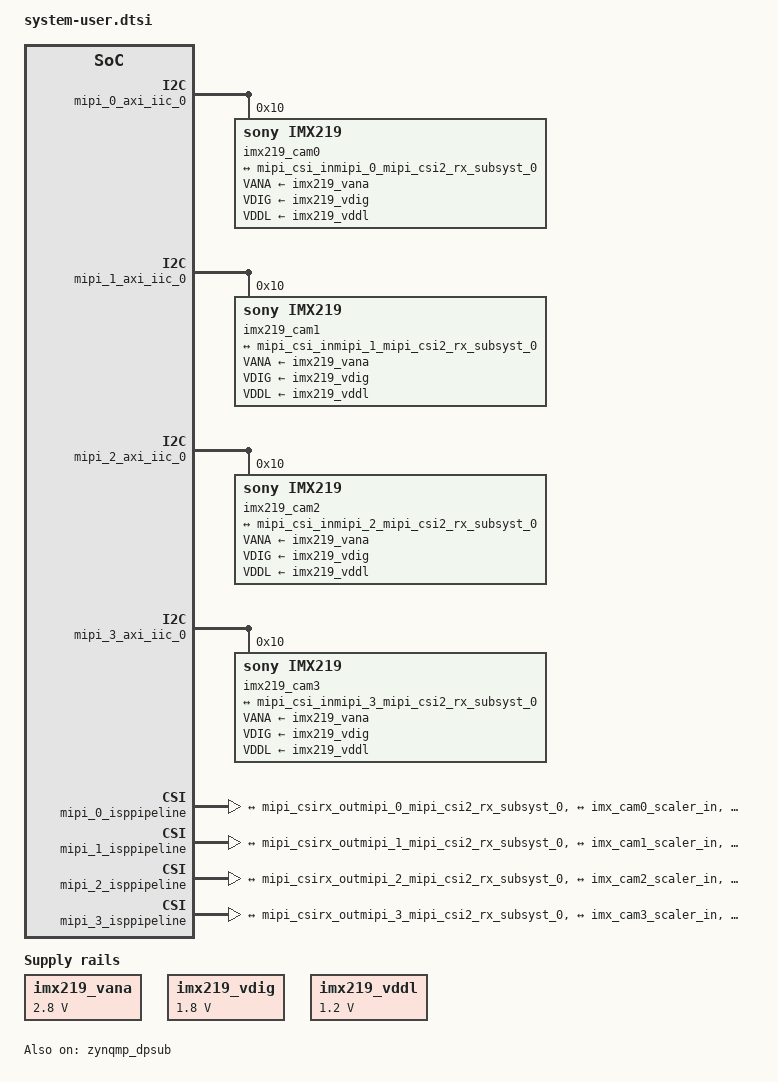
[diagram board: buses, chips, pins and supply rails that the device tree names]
/include/ "system-conf.dtsi"
/ {
};

&zynqmp_dpsub {
    status = "okay";
    clocks = <&dp_aclk>, <&zynqmp_clk 17>, <&zynqmp_clk 16>, <&display_pipeline_clk_wiz_0 0>;
    clock-names = "dp_apb_clk", "dp_aud_clk",
                    "dp_vtc_pixel_clk_in",
                    "dp_live_video_in_clk";
    xlnx,bridge = <&display_pipeline_v_tc_0>;

    dp_port: port@0 {
        reg = <0>;
        dp_encoder: endpoint {
            remote-endpoint = <&mixer_crtc>;
        };
    };
};

&amba_pl {
	imx219_clk: imx219_clk {
		#clock-cells = <0x0>;
		clock-frequency = <24000000>;
		compatible = "fixed-clock";
	};


	imx219_vana: fixedregulator@3 {
		compatible = "regulator-fixed";
		regulator-name = "imx219_vana";
		regulator-min-microvolt = <2800000>;
		regulator-max-microvolt = <2800000>;
		enable-active-high;
	};

	imx219_vdig: fixedregulator@4 {
		compatible = "regulator-fixed";
		regulator-name = "imx219_vdig";
		regulator-min-microvolt = <1800000>;
		regulator-max-microvolt = <1800000>;
	};

	imx219_vddl: fixedregulator@5 {
		compatible = "regulator-fixed";
		regulator-name = "imx219_vddl";
		regulator-min-microvolt = <1200000>;
		regulator-max-microvolt = <1200000>;
	};
	
	/* zocl */
	zyxclmm_drm {
		compatible = "xlnx,zocl";
		status = "okay";
		interrupt-parent = <&gic>;
		interrupts = <0 110  4>, <0 111  4>;
	};
};

&mipi_0_axi_iic_0 {
	imx219_cam0: sensor@10 {
		compatible = "sony,imx219";
		reg = <0x10>;
		clocks = <&imx219_clk>;
		VANA-supply = <&imx219_vana>;   /* 2.8v */
		VDIG-supply = <&imx219_vdig>;   /* 1.8v */
		VDDL-supply = <&imx219_vddl>;   /* 1.2v */

		port {
		     imx219_cam0_0: endpoint {
			remote-endpoint = <&mipi_csi_inmipi_0_mipi_csi2_rx_subsyst_0>;
			data-lanes = <1 2>;
			link-frequencies = /bits/ 64 <456000000>;
			};
		};
	};
};

&mipi_1_axi_iic_0 {
	imx219_cam1: sensor@10 {
		compatible = "sony,imx219";
		reg = <0x10>;
		clocks = <&imx219_clk>;
		VANA-supply = <&imx219_vana>;   /* 2.8v */
		VDIG-supply = <&imx219_vdig>;   /* 1.8v */
		VDDL-supply = <&imx219_vddl>;   /* 1.2v */

		port {
		     imx219_cam1_0: endpoint {
			remote-endpoint = <&mipi_csi_inmipi_1_mipi_csi2_rx_subsyst_0>;
			data-lanes = <1 2>;
			link-frequencies = /bits/ 64 <456000000>;
			};
		};
	};
};

&mipi_2_axi_iic_0 {
	imx219_cam2: sensor@10 {
		compatible = "sony,imx219";
		reg = <0x10>;
		clocks = <&imx219_clk>;
		VANA-supply = <&imx219_vana>;   /* 2.8v */
		VDIG-supply = <&imx219_vdig>;   /* 1.8v */
		VDDL-supply = <&imx219_vddl>;   /* 1.2v */

		port {
		     imx219_cam2_0: endpoint {
			remote-endpoint = <&mipi_csi_inmipi_2_mipi_csi2_rx_subsyst_0>;
			data-lanes = <1 2>;
			link-frequencies = /bits/ 64 <456000000>;
			};
		};
	};
};

&mipi_3_axi_iic_0 {
	imx219_cam3: sensor@10 {
		compatible = "sony,imx219";
		reg = <0x10>;
		clocks = <&imx219_clk>;
		VANA-supply = <&imx219_vana>;   /* 2.8v */
		VDIG-supply = <&imx219_vdig>;   /* 1.8v */
		VDDL-supply = <&imx219_vddl>;   /* 1.2v */

		port {
		     imx219_cam3_0: endpoint {
			remote-endpoint = <&mipi_csi_inmipi_3_mipi_csi2_rx_subsyst_0>;
			data-lanes = <1 2>;
			link-frequencies = /bits/ 64 <456000000>;
			};
		};
	};
};

&mipi_0_mipi_csi2_rx_subsyst_0 {
	xlnx,en-active-lanes;
};

&mipi_1_mipi_csi2_rx_subsyst_0 {
	xlnx,en-active-lanes;
};

&mipi_2_mipi_csi2_rx_subsyst_0 {
	xlnx,en-active-lanes;
};

&mipi_3_mipi_csi2_rx_subsyst_0 {
	xlnx,en-active-lanes;
};

&mipi_csi_inmipi_0_mipi_csi2_rx_subsyst_0 {
	remote-endpoint = <&imx219_cam0_0>;
};

&mipi_csi_inmipi_1_mipi_csi2_rx_subsyst_0 {
	remote-endpoint = <&imx219_cam1_0>;
};

&mipi_csi_inmipi_2_mipi_csi2_rx_subsyst_0 {
	remote-endpoint = <&imx219_cam2_0>;
};

&mipi_csi_inmipi_3_mipi_csi2_rx_subsyst_0 {
	remote-endpoint = <&imx219_cam3_0>;
};

&mipi_0_isppipeline {
	compatible = "xlnx,ISPPipeline_accel";
	reset-gpios = <&gpio 86 1>;
	xlnx,max-height = <1232>;
	xlnx,max-width = <1920>;
	xlnx,rgain = <128>;
	xlnx,bgain = <210>;
	xlnx,pawb = <350>;
	xlnx,mode-reg = <1>;
	ports {
		#address-cells = <1>;
		#size-cells = <0>;
			port@0 {
			reg = <0>;
			xlnx,video-width = <10>;
			xlnx,cfa-pattern = "rggb";
				mipi_0_isppipelinemipi_0_mipi_csi2_rx_subsyst_0: endpoint {
				remote-endpoint = <&mipi_csirx_outmipi_0_mipi_csi2_rx_subsyst_0>;
			};
		};
			port@1 {
			reg = <1>;
			xlnx,video-width = <8>;
			xlnx,cfa-pattern = "rggb";
			
			imx_cam0_demosaic_out: endpoint {
				remote-endpoint = <&imx_cam0_scaler_in>;
			};
		};
	};
};

&mipi_1_isppipeline {
	compatible = "xlnx,ISPPipeline_accel";
	reset-gpios = <&gpio 94 1>;
	xlnx,max-height = <1232>;
	xlnx,max-width = <1920>;
	xlnx,rgain = <128>;
	xlnx,bgain = <210>;
	xlnx,pawb = <350>;
	xlnx,mode-reg = <1>;
	ports {
		#address-cells = <1>;
		#size-cells = <0>;
			port@0 {
			reg = <0>;
			xlnx,video-width = <10>;
			xlnx,cfa-pattern = "rggb";
				mipi_1_isppipelinemipi_1_mipi_csi2_rx_subsyst_0: endpoint {
				remote-endpoint = <&mipi_csirx_outmipi_1_mipi_csi2_rx_subsyst_0>;
			};
		};
			port@1 {
			reg = <1>;
			xlnx,video-width = <8>;
			xlnx,cfa-pattern = "rggb";
			
			imx_cam1_demosaic_out: endpoint {
				remote-endpoint = <&imx_cam1_scaler_in>;
			};
		};
	};
};

&mipi_2_isppipeline {
	compatible = "xlnx,ISPPipeline_accel";
	reset-gpios = <&gpio 102 1>;
	xlnx,max-height = <1232>;
	xlnx,max-width = <1920>;
	xlnx,rgain = <128>;
	xlnx,bgain = <210>;
	xlnx,pawb = <350>;
	xlnx,mode-reg = <1>;
	ports {
		#address-cells = <1>;
		#size-cells = <0>;
			port@0 {
			reg = <0>;
			xlnx,video-width = <10>;
			xlnx,cfa-pattern = "rggb";
				mipi_2_isppipelinemipi_2_mipi_csi2_rx_subsyst_0: endpoint {
				remote-endpoint = <&mipi_csirx_outmipi_2_mipi_csi2_rx_subsyst_0>;
			};
		};
			port@1 {
			reg = <1>;
			xlnx,video-width = <8>;
			xlnx,cfa-pattern = "rggb";
			
			imx_cam2_demosaic_out: endpoint {
				remote-endpoint = <&imx_cam2_scaler_in>;
			};
		};
	};
};

&mipi_3_isppipeline {
	compatible = "xlnx,ISPPipeline_accel";
	reset-gpios = <&gpio 110 1>;
	xlnx,max-height = <1232>;
	xlnx,max-width = <1920>;
	xlnx,rgain = <128>;
	xlnx,bgain = <210>;
	xlnx,pawb = <350>;
	xlnx,mode-reg = <1>;
	ports {
		#address-cells = <1>;
		#size-cells = <0>;
			port@0 {
			reg = <0>;
			xlnx,video-width = <10>;
			xlnx,cfa-pattern = "rggb";
				mipi_3_isppipelinemipi_3_mipi_csi2_rx_subsyst_0: endpoint {
				remote-endpoint = <&mipi_csirx_outmipi_3_mipi_csi2_rx_subsyst_0>;
			};
		};
			port@1 {
			reg = <1>;
			xlnx,video-width = <8>;
			xlnx,cfa-pattern = "rggb";
			
			imx_cam3_demosaic_out: endpoint {
				remote-endpoint = <&imx_cam3_scaler_in>;
			};
		};
	};
};

&mipi_0_v_proc {
	compatible = "xlnx,v-vpss-scaler-2.2";
};

&mipi_1_v_proc {
	compatible = "xlnx,v-vpss-scaler-2.2";
};

&mipi_2_v_proc {
	compatible = "xlnx,v-vpss-scaler-2.2";
};

&mipi_3_v_proc {
	compatible = "xlnx,v-vpss-scaler-2.2";
};

&display_pipeline_clk_wiz_0 {
	#address-cells = <2>;
};

&crtc_mixer_portdisplay_pipeline_v_mix_0 {
	mixer_crtc: endpoint@0 {
		reg = <0>;
		remote-endpoint = <&dp_encoder>;
	};
};

&xx_mix_masterdisplay_pipeline_v_mix_0 {
	xlnx,vformat = "NV16";
};

&display_pipeline_v_mix_0 {
	xlnx,disp-bridge = <&zynqmp_dpsub>;
};

&display_pipeline_v_tc_0 {
	compatible = "xlnx,bridge-v-tc-6.1";
	xlnx,pixels-per-clock = <1>;
};

&scaler_port0mipi_0_v_proc {
	imx_cam0_scaler_in: endpoint {
		remote-endpoint = <&imx_cam0_demosaic_out>;
	};
};

&scaler_port0mipi_1_v_proc {
	imx_cam1_scaler_in: endpoint {
		remote-endpoint = <&imx_cam1_demosaic_out>;
	};
};

&scaler_port0mipi_2_v_proc {
	imx_cam2_scaler_in: endpoint {
		remote-endpoint = <&imx_cam2_demosaic_out>;
	};
};

&scaler_port0mipi_3_v_proc {
	imx_cam3_scaler_in: endpoint {
		remote-endpoint = <&imx_cam3_demosaic_out>;
	};
};


